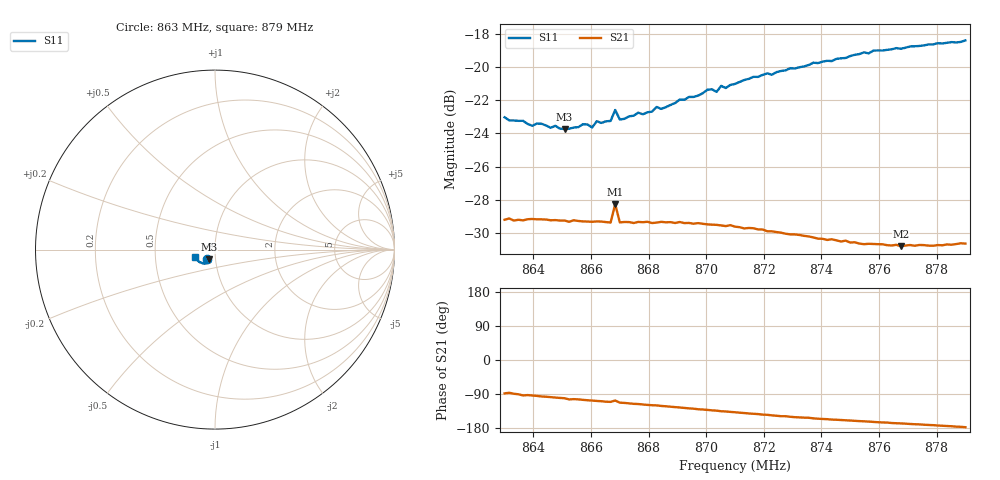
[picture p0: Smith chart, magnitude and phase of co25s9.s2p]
# HZ S RI R 50
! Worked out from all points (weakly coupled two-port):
!   101 points, 863 MHz to 879 MHz, reference 50 ohm
!   highest |S21| = -28.26 dB at 866.84 MHz (marker M1); lowest = -30.8 dB at 876.76 MHz (marker M2)
!   lowest |S11| = -23.7 dB at 865.08 MHz (marker M3), VSWR 1.14, Z = 46.4 - j5.11 ohm
!   |S11| at or under -10 dB: start of sweep to end of sweep
!   S12 and S22 are empty: the file has one direction only
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8.63e8  -0.047 -0.0527  0.00116 -0.0347  0 0  0 0
8.6396e8  -0.0395 -0.0536  -0.00225 -0.0348  0 0  0 0
8.6428e8  -0.0392 -0.055  -0.00378 -0.0346  0 0  0 0
8.6508e8  -0.0349 -0.0549  -0.00649 -0.0339  0 0  0 0
8.6572e8  -0.0352 -0.0573  -0.00898 -0.0331  0 0  0 0
8.6604e8  -0.0332 -0.0568  -0.01 -0.0327  0 0  0 0
8.662e8  -0.0349 -0.0592  -0.0106 -0.0326  0 0  0 0
8.6668e8  -0.0339 -0.0599  -0.0119 -0.0318  0 0  0 0
8.6684e8  -0.0264 -0.0694  -0.0113 -0.037  0 0  0 0
8.67e8  -0.0337 -0.0609  -0.0131 -0.0314  0 0  0 0
8.6812e8  -0.0347 -0.0647  -0.0166 -0.0295  0 0  0 0
8.6828e8  -0.0349 -0.0673  -0.0169 -0.0295  0 0  0 0
8.6844e8  -0.0357 -0.0657  -0.0177 -0.0292  0 0  0 0
8.7004e8  -0.0431 -0.0738  -0.0224 -0.0251  0 0  0 0
8.7036e8  -0.0433 -0.0722  -0.0231 -0.0242  0 0  0 0
8.7052e8  -0.0454 -0.0751  -0.0237 -0.0235  0 0  0 0
8.7068e8  -0.0451 -0.0738  -0.0238 -0.0231  0 0  0 0
8.71e8  -0.0483 -0.0747  -0.0245 -0.0222  0 0  0 0
8.7372e8  -0.0693 -0.0763  -0.0276 -0.0135  0 0  0 0
8.7644e8  -0.0943 -0.0625  -0.0282 -0.00688  0 0  0 0
8.7676e8  -0.0967 -0.0596  -0.0282 -0.00632  0 0  0 0
8.79e8  -0.1139 -0.0388  -0.0294 -0.00136  0 0  0 0
